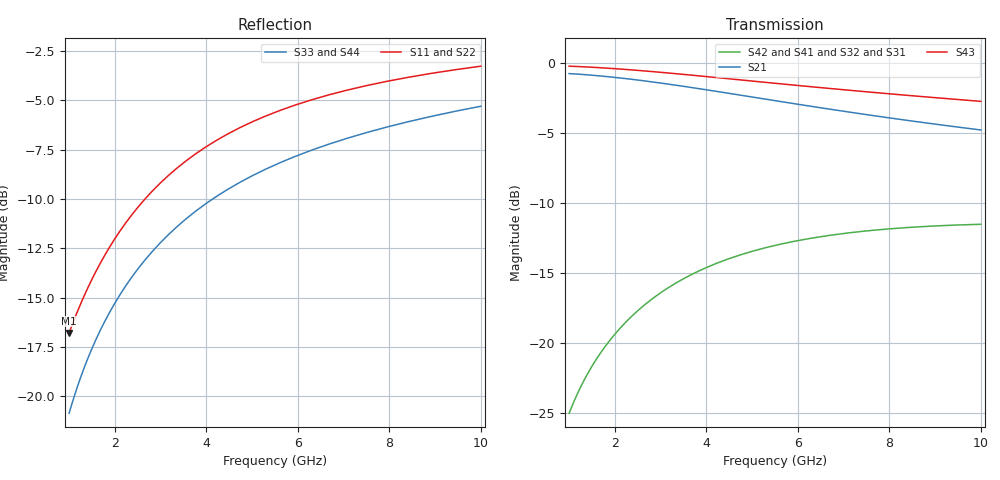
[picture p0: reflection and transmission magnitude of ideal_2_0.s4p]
! Synthetic ideal circuit; generated by generate_synthetic.py
# Hz S RI R 50
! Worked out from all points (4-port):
!   41 points, 1 GHz to 10 GHz, reference 50 ohm
!   strongest paths, dB at 1 GHz, 1.778 GHz, 3.162 GHz, 5.623 GHz, 10 GHz:
!     S43: -0.2, -0.4, -0.7, -1.5, -2.7
!     S21: -0.8, -1.0, -1.5, -2.8, -4.8
!     S42: -25.0, -20.3, -16.1, -12.9, -11.5
!     S41: -25.0, -20.3, -16.1, -12.9, -11.5
!     S32: -25.0, -20.3, -16.1, -12.9, -11.5
!     S31: -25.0, -20.3, -16.1, -12.9, -11.5
!   lowest |S11| = -16.8 dB at 1 GHz (marker M1), VSWR 1.34, Z = 58.5 + j13.4 ohm
!   |S11| at or under -10 dB: start of sweep to 2.658 GHz
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1e9  0.0921 0.1118  0.9079 -0.1193  0.0122 0.0548  -0.0122 -0.0548
     0.9079 -0.1193  0.0921 0.1118  -0.0122 -0.0548  0.0122 0.0548
     0.0122 0.0548  -0.0122 -0.0548  0.0312 0.085  0.9688 -0.0926
     -0.0122 -0.0548  0.0122 0.0548  0.9688 -0.0926  0.0312 0.085
1.496236e9  0.1132 0.1621  0.8868 -0.1733  0.0263 0.0782  -0.0263 -0.0782
            0.8868 -0.1733  0.1132 0.1621  -0.0263 -0.0782  0.0263 0.0782
            0.0263 0.0782  -0.0263 -0.0782  0.0448 0.1241  0.9552 -0.1354
            -0.0263 -0.0782  0.0263 0.0782  0.9552 -0.1354  0.0448 0.1241
2.113489e9  0.1478 0.217  0.852 -0.2329  0.0493 0.1016  -0.0493 -0.1016
            0.852 -0.2329  0.1478 0.217  -0.0493 -0.1016  0.0493 0.1016
            0.0493 0.1016  -0.0493 -0.1016  0.0673 0.1681  0.9325 -0.184
            -0.0493 -0.1016  0.0493 0.1016  0.9325 -0.184  0.0673 0.1681
2.985383e9  0.207 0.2778  0.7928 -0.3003  0.0876 0.1225  -0.0876 -0.1225
            0.7928 -0.3003  0.207 0.2778  -0.0876 -0.1225  0.0876 0.1225
            0.0876 0.1225  -0.0876 -0.1225  0.1064 0.2201  0.8934 -0.2426
            -0.0876 -0.1225  0.0876 0.1225  0.8934 -0.2426  0.1064 0.2201
3.981072e9  0.2796 0.324  0.72 -0.354  0.1326 0.1296  -0.1326 -0.1296
            0.72 -0.354  0.2796 0.324  -0.1326 -0.1296  0.1326 0.1296
            0.1326 0.1296  -0.1326 -0.1296  0.1556 0.265  0.844 -0.295
            -0.1326 -0.1296  0.1326 0.1296  0.844 -0.295  0.1556 0.265
6.309573e9  0.4328 0.3625  0.5661 -0.41  0.215 0.0995  -0.215 -0.0995
            0.5661 -0.41  0.4328 0.3625  -0.215 -0.0995  0.215 0.0995
            0.215 0.0995  -0.215 -0.0995  0.2671 0.3253  0.7318 -0.3729
            -0.215 -0.0995  0.215 0.0995  0.7318 -0.3729  0.2671 0.3253
1e10  0.5969 0.339  0.4002 -0.4143  0.2652 0.0111  -0.2652 -0.0111
      0.4002 -0.4143  0.5969 0.339  -0.2652 -0.0111  0.2652 0.0111
      0.2652 0.0111  -0.2652 -0.0111  0.4101 0.3566  0.5871 -0.4319
      -0.2652 -0.0111  0.2652 0.0111  0.5871 -0.4319  0.4101 0.3566
